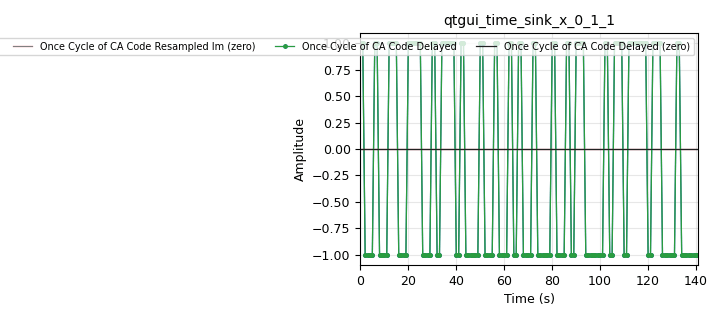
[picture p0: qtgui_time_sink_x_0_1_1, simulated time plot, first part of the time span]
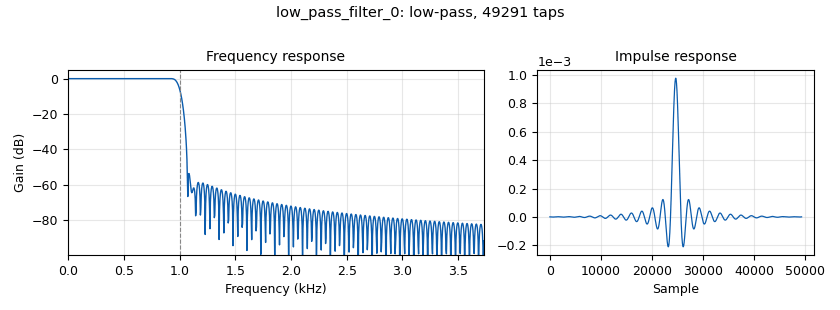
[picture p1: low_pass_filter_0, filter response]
options:
  parameters:
    author: jason
    generate_options: qt_gui
    generator_class_name: PythonQtGuiGenerator
    generator_module: gnuradio.grc.workflows.python_qt_gui
    id: lesson23_GPS_RTL_SDR_calculateCA_shift
    output_language: python
    title: GPS_RTL_SDR
  states: {}

blocks:
- name: Ncycles
  id: variable
  parameters:
    value: '4'
  states: {}
- name: bb_gain
  id: variable_qtgui_range
  parameters:
    start: '0'
    step: '1'
    stop: '80'
    value: '20'
  states: {}
- name: chip_rate
  id: variable
  parameters:
    comment: 'GPS C/A code: 1023 chips per millisecond'
    value: 1.023e6
  states: {}
- name: delay
  id: variable_qtgui_range
  parameters:
    start: '-int(samp_rate/1000)'
    step: '1'
    stop: int(samp_rate/1000)
    value: '0'
  states: {}
- name: doppler_shift
  id: variable_qtgui_range
  parameters:
    comment: |-
      Satellite Doppler at L1 is up to about +/-5 kHz for a receiver on the ground,
      and the RTL-SDR clock adds 1.575 kHz per ppm of error (set Frequency Correction
      if you know your dongle's ppm). With Ncycles ms of coherent integration the
      correlation peak is only 1/Ncycles kHz wide, so step through this slowly.
    start: '-10e3'
    step: '50'
    stop: 10e3
    value: '0'
  states: {}
- name: if_gain
  id: variable_qtgui_range
  parameters:
    start: '0'
    step: '1'
    stop: '80'
    value: '20'
  states: {}
- name: rf_gain
  id: variable_qtgui_range
  parameters:
    start: '0'
    step: '1'
    stop: '80'
    value: '50'
  states: {}
- name: samp_rate
  id: variable
  parameters:
    value: 2.048e6
  states: {state: disabled}
- name: samp_rate
  id: variable
  parameters:
    value: 2.4e6
  states: {state: disabled}
- name: samp_rate
  id: variable
  parameters:
    comment: two samples per chip
    value: 2*chip_rate
  states: {}
- name: vector_size
  id: variable
  parameters:
    value: int(Ncycles*samp_rate/1000)
  states: {}
- name: analog_const_source_x_0
  id: analog_const_source_x
  parameters:
    const: '0'
    type: byte
  states: {}
- name: analog_const_source_x_1
  id: analog_const_source_x
  parameters:
    const: '0'
    type: float
  states: {}
- name: analog_const_source_x_2
  id: analog_const_source_x
  parameters:
    const: '0'
    type: float
  states: {}
- name: analog_sig_source_x_0
  id: analog_sig_source_x
  parameters:
    amp: '1'
    comment: |-
      complex exponential
      used to un-doppler shift
    freq: doppler_shift
    offset: '0'
    phase: '0'
    samp_rate: samp_rate
    type: complex
    waveform: analog.GR_COS_WAVE
  states: {}
- name: analog_sig_source_x_1
  id: analog_sig_source_x
  parameters:
    amp: delay*3.141592653589793*2/Ncycles
    comment: |-
      Originally I had delay*3.141592653589793*2,
      but delay*3.141592653589793/2 
      actually matches the correlation peak with Ncycles=4
    freq: '1000'
    offset: '0'
    phase: '3.141592653589793'
    samp_rate: samp_rate
    type: float
    waveform: analog.GR_SAW_WAVE
  states: {}
- name: blocks_char_to_float_0
  id: blocks_char_to_float
  parameters:
    scale: '1'
  states: {}
- name: blocks_complex_to_mag_0
  id: blocks_complex_to_mag
  parameters: {}
  states: {}
- name: blocks_delay_0
  id: blocks_delay
  parameters:
    comment: '1'
    delay: '1'
    type: byte
  states: {}
- name: blocks_delay_0_0
  id: blocks_delay
  parameters:
    comment: '2'
    delay: '1'
    type: byte
  states: {}
- name: blocks_delay_0_0_0
  id: blocks_delay
  parameters:
    comment: '3'
    delay: '1'
    type: byte
  states: {}
- name: blocks_delay_0_0_0_0
  id: blocks_delay
  parameters:
    comment: '4'
    delay: '1'
    type: byte
  states: {}
- name: blocks_delay_0_0_0_0_0
  id: blocks_delay
  parameters:
    comment: '5'
    delay: '1'
    type: byte
  states: {}
- name: blocks_delay_0_0_0_0_0_0
  id: blocks_delay
  parameters:
    comment: '6'
    delay: '1'
    type: byte
  states: {}
- name: blocks_delay_0_0_0_0_0_0_0
  id: blocks_delay
  parameters:
    comment: '7'
    delay: '1'
    type: byte
  states: {}
- name: blocks_delay_0_0_0_0_0_0_0_0
  id: blocks_delay
  parameters:
    comment: '10'
    delay: '1'
    type: byte
  states: {}
- name: blocks_delay_0_0_0_0_0_0_0_0_0
  id: blocks_delay
  parameters:
    comment: '10'
    delay: '1'
    type: byte
  states: {}
- name: blocks_delay_0_0_0_0_0_0_0_1
  id: blocks_delay
  parameters:
    comment: '7'
    delay: '1'
    type: byte
  states: {}
- name: blocks_delay_0_0_0_0_0_0_1
  id: blocks_delay
  parameters:
    comment: '9'
    delay: '1'
    type: byte
  states: {}
- name: blocks_delay_0_0_0_0_0_0_1_0
  id: blocks_delay
  parameters:
    comment: '9'
    delay: '1'
    type: byte
  states: {}
- name: blocks_delay_0_0_0_0_0_0_2
  id: blocks_delay
  parameters:
    comment: '6'
    delay: '1'
    type: byte
  states: {}
- name: blocks_delay_0_0_0_0_0_1
  id: blocks_delay
  parameters:
    comment: '8'
    delay: '1'
    type: byte
  states: {}
- name: blocks_delay_0_0_0_0_0_1_0
  id: blocks_delay
  parameters:
    comment: '8'
    delay: '1'
    type: byte
  states: {}
- name: blocks_delay_0_0_0_0_0_2
  id: blocks_delay
  parameters:
    comment: '5'
    delay: '1'
    type: byte
  states: {}
- name: blocks_delay_0_0_0_0_1
  id: blocks_delay
  parameters:
    comment: '4'
    delay: '1'
    type: byte
  states: {}
- name: blocks_delay_0_0_0_1
  id: blocks_delay
  parameters:
    comment: '3'
    delay: '1'
    type: byte
  states: {}
- name: blocks_delay_0_0_1
  id: blocks_delay
  parameters:
    comment: '2'
    delay: '1'
    type: byte
  states: {}
- name: blocks_delay_0_1
  id: blocks_delay
  parameters:
    comment: '1'
    delay: '1'
    type: byte
  states: {}
- name: blocks_float_to_complex_0
  id: blocks_float_to_complex
  parameters: {}
  states: {}
- name: blocks_float_to_complex_1
  id: blocks_float_to_complex
  parameters: {}
  states: {}
- name: blocks_multiply_conjugate_cc_0
  id: blocks_multiply_conjugate_cc
  parameters:
    vlen: vector_size
  states: {}
- name: blocks_multiply_const_vxx_0
  id: blocks_multiply_const_vxx
  parameters:
    const: '[1/vector_size]*vector_size'
    type: complex
    vlen: vector_size
  states: {}
- name: blocks_multiply_const_vxx_0_0
  id: blocks_multiply_const_vxx
  parameters:
    const: '[1/vector_size]*vector_size'
    type: complex
    vlen: vector_size
  states: {}
- name: blocks_multiply_xx_0
  id: blocks_multiply_xx
  parameters:
    comment: |-
      out is a doppler-shifted
      RTL-SDR signal
    type: complex
  states: {}
- name: blocks_multiply_xx_0_0
  id: blocks_multiply_xx
  parameters:
    comment: |-
      multiply doppler-shifted input
      by time-shifted resampled CA code
    type: complex
  states: {}
- name: blocks_multiply_xx_1
  id: blocks_multiply_xx
  parameters:
    type: complex
  states: {}
- name: blocks_null_sink_0
  id: blocks_null_sink
  parameters:
    type: byte
  states: {}
- name: blocks_repeat_0
  id: blocks_repeat
  parameters:
    comment: samples per chip
    interp: int(samp_rate/chip_rate)
    type: complex
  states: {}
- name: blocks_stream_to_vector_0_0
  id: blocks_stream_to_vector
  parameters:
    comment: |-
      start FFT circular correlation
      by turning doppler-shifted RTL-SDR into stream
    num_items: vector_size
    type: complex
  states: {}
- name: blocks_stream_to_vector_0_0_0
  id: blocks_stream_to_vector
  parameters:
    comment: |-
      start FFT circular correlation
      by turning re-sampled code into stream
    num_items: vector_size
    type: complex
  states: {}
- name: blocks_stream_to_vector_0_0_0_0
  id: blocks_stream_to_vector
  parameters:
    num_items: vector_size
    type: complex
  states: {}
- name: blocks_transcendental_0
  id: blocks_transcendental
  parameters:
    name: exp
    type: complex_float
  states: {}
- name: blocks_vector_to_stream_0
  id: blocks_vector_to_stream
  parameters:
    num_items: vector_size
    type: complex
  states: {}
- name: blocks_vector_to_stream_1
  id: blocks_vector_to_stream
  parameters:
    num_items: vector_size
    type: complex
  states: {}
- name: blocks_vector_to_stream_1_0
  id: blocks_vector_to_stream
  parameters:
    comment: |-
      out is a delayed
      version of resampled CA code
    num_items: vector_size
    type: complex
  states: {}
- name: blocks_xor_xx_0
  id: blocks_xor_xx
  parameters:
    comment: |-
      Find SV CA code taps on p23 of
      http://www.naic.edu/~phil/rfi/gps/AFD-070803-059-1.pdf
    type: byte
  states: {}
- name: blocks_xor_xx_1
  id: blocks_xor_xx
  parameters:
    comment: SV cacode
    type: byte
  states: {}
- name: digital_map_bb_0
  id: digital_map_bb
  parameters:
    map: '[-1,1]'
  states: {}
- name: digital_scrambler_bb_1_0
  id: digital_scrambler_bb
  parameters:
    comment: |-
      G1 LFSR:
      x^10+x^3+1
      For the scrambler,
      length really means length-1
      GPS documentation's definition 
      of the bits is the opposite order
    len: 10-1
    mask: 2**(10-10) + 2**(10-3)
    seed: 2**10-1
  states: {}
- name: digital_scrambler_bb_1_0_0
  id: digital_scrambler_bb
  parameters:
    comment: |-
      G2 LFSR: 
      x^10+x^9+x^8+x^6+x^3+x^2+1
    len: 10-1
    mask: 2**(10-10) + 2**(10-9) + 2**(10-8) + 2**(10-6) + 2**(10-3) + 2**(10-2)
    seed: 2**10-1
  states: {}
- name: fft_vxx_0
  id: fft_vxx
  parameters:
    comment: |-
      In a real system, this one can be 
      pre-computed for each satellite
    fft_size: vector_size
    forward: 'True'
    shift: 'False'
    type: complex
    window: window.rectangular(vector_size)
  states: {}
- name: fft_vxx_0_0
  id: fft_vxx
  parameters:
    fft_size: vector_size
    forward: 'True'
    shift: 'False'
    type: complex
    window: window.rectangular(vector_size)
  states: {}
- name: fft_vxx_1
  id: fft_vxx
  parameters:
    fft_size: vector_size
    forward: 'False'
    shift: 'False'
    type: complex
    window: window.rectangular(vector_size)
  states: {}
- name: fft_vxx_1_0
  id: fft_vxx
  parameters:
    fft_size: vector_size
    forward: 'False'
    shift: 'False'
    type: complex
    window: window.rectangular(vector_size)
  states: {}
- name: gps_taps_note
  id: note
  parameters:
    comment: |-
      GPS C/A code: G2 taps for each satellite (IS-GPS-200, Table 3-Ia)
      C/A = G1[10] xor G2[t1] xor G2[t2]   (delay n = tap n)
      PRN 1: 2,6    PRN 2: 3,7    PRN 3: 4,8    PRN 4: 5,9
      PRN 5: 1,9    PRN 6: 2,10   PRN 7: 1,8    PRN 8: 2,9
      PRN 9: 3,10   PRN 10: 2,3   PRN 11: 3,4   PRN 12: 5,6
      PRN 13: 6,7   PRN 14: 7,8   PRN 15: 8,9   PRN 16: 9,10
      PRN 17: 1,4   PRN 18: 2,5   PRN 19: 3,6   PRN 20: 4,7
      PRN 21: 5,8   PRN 22: 6,9   PRN 23: 1,3   PRN 24: 4,6
      PRN 25: 5,7   PRN 26: 6,8   PRN 27: 7,9   PRN 28: 8,10
      PRN 29: 1,6   PRN 30: 2,7   PRN 31: 3,8   PRN 32: 4,9
      (All 32 verified against the IS-GPS-200 first-10-chip table, Oct 2026.)
    note: G2 taps for every GPS satellite
  states: {}
- name: low_pass_filter_0
  id: low_pass_filter
  parameters:
    cutoff_freq: '1000'
    decim: int(samp_rate/1000)
    gain: '1'
    samp_rate: samp_rate
    type: fir_filter_ccf
    width: '100'
    win: window.WIN_HAMMING
  states: {}
- name: qtgui_freq_sink_x_0
  id: qtgui_freq_sink_x
  parameters:
    bw: samp_rate
    fc: '0'
    fftsize: '2048'
    label1: Once Cycle of CA Code Resampled
    label2: RTL-SDR raw
    nconnections: '2'
    type: complex
  states: {}
- name: qtgui_time_sink_x_0
  id: qtgui_time_sink_x
  parameters:
    autoscale: 'True'
    comment: |-
      CA code as a 
      sequence of 1023 of 0s and 1s
    label1: One Cycle of CA Code (1023 chips)
    label2: One Cycle of CA Code Im (zero)
    marker1: '0'
    size: '1023'
    srate: '1'
    type: complex
  states: {}
- name: qtgui_time_sink_x_0_1
  id: qtgui_time_sink_x
  parameters:
    autoscale: 'True'
    label1: Once Cycle of CA Code Resampled
    label2: Once Cycle of CA Code Resampled Im (zero)
    size: int(samp_rate/1000)
    srate: '1'
    type: complex
  states: {}
- name: qtgui_time_sink_x_0_1_0
  id: qtgui_time_sink_x
  parameters:
    label1: RTL-SDR raw Re
    label2: RTL-SDR raw Im
    size: int(samp_rate/1000)
    srate: samp_rate
    type: complex
  states: {state: disabled}
- name: qtgui_time_sink_x_0_1_1
  id: qtgui_time_sink_x
  parameters:
    autoscale: 'True'
    label1: Once Cycle of CA Code Resampled
    label2: Once Cycle of CA Code Resampled Im (zero)
    label3: Once Cycle of CA Code Delayed
    label4: Once Cycle of CA Code Delayed (zero)
    marker1: '0'
    marker3: '0'
    nconnections: '2'
    size: int(samp_rate/1000)
    srate: '1'
    type: complex
  states: {}
- name: qtgui_time_sink_x_0_2
  id: qtgui_time_sink_x
  parameters:
    autoscale: 'True'
    label1: Correlation Re
    label2: Correlation Im
    size: vector_size
    srate: samp_rate
    type: complex
    ymax: vector_size*1.2
    ymin: '-vector_size*0.2'
  states: {state: disabled}
- name: qtgui_time_sink_x_0_2_0
  id: qtgui_time_sink_x
  parameters:
    label1: Correlation Mag
    size: vector_size
    srate: '1'
    type: float
    ymax: 40*Ncycles
    ymin: '0'
  states: {}
- name: qtgui_time_sink_x_1
  id: qtgui_time_sink_x
  parameters:
    label1: Correlate Against Each Cycle Re
    label2: Correlate Against Each Cycle Im
    marker1: '0'
    marker2: '0'
    size: '1000'
    srate: 1e3
    type: complex
    ymax: '0.02'
    ymin: '-0.02'
  states: {}
- name: rational_resampler_xxx_0
  id: rational_resampler_xxx
  parameters:
    comment: CA code resampled at 2.048 MHz
    decim: int(chip_rate)
    interp: int(samp_rate)
    type: ccc
  states: {state: disabled}
- name: rtlsdr_source_0
  id: rtlsdr_source
  parameters:
    args: '"rtl,bias=1"'
    bb_gain0: bb_gain
    comment: |-
      Add "rtl,bias=1" to 
      Device Arguments arguments 
      to turn on the bias T
      Tune to 1575.42 MHz for GPS L1
    freq0: 1575.42e6
    gain0: rf_gain
    gain_mode0: 'False'
    if_gain0: if_gain
    sample_rate: samp_rate
    sync: sync
    type: fc32
  states: {}
- name: virtual_sink_0_0_0
  id: virtual_sink
  parameters:
    stream_id: G2
  states: {}
- name: virtual_sink_0_0_0_0
  id: virtual_sink
  parameters:
    stream_id: G1
  states: {}
- name: virtual_sink_0_0_0_1
  id: virtual_sink
  parameters:
    stream_id: CA
  states: {}
- name: virtual_source_0
  id: virtual_source
  parameters:
    stream_id: CA
  states: {}

connections:
- [analog_const_source_x_0, '0', digital_scrambler_bb_1_0, '0']
- [analog_const_source_x_0, '0', digital_scrambler_bb_1_0_0, '0']
- [analog_const_source_x_1, '0', blocks_float_to_complex_0, '1']
- [analog_const_source_x_2, '0', blocks_float_to_complex_1, '0']
- [analog_sig_source_x_0, '0', blocks_multiply_xx_0, '1']
- [analog_sig_source_x_1, '0', blocks_float_to_complex_1, '1']
- [blocks_char_to_float_0, '0', blocks_float_to_complex_0, '0']
- [blocks_complex_to_mag_0, '0', qtgui_time_sink_x_0_2_0, '0']
- [blocks_delay_0, '0', blocks_delay_0_0, '0']
- [blocks_delay_0_0, '0', blocks_delay_0_0_0, '0']
- [blocks_delay_0_0_0, '0', blocks_delay_0_0_0_0, '0']
- [blocks_delay_0_0_0, '0', blocks_xor_xx_0, '1']
- [blocks_delay_0_0_0_0, '0', blocks_delay_0_0_0_0_0, '0']
- [blocks_delay_0_0_0_0, '0', blocks_xor_xx_0, '0']
- [blocks_delay_0_0_0_0_0, '0', blocks_delay_0_0_0_0_0_0, '0']
- [blocks_delay_0_0_0_0_0_0, '0', blocks_delay_0_0_0_0_0_0_0, '0']
- [blocks_delay_0_0_0_0_0_0_0, '0', blocks_delay_0_0_0_0_0_1, '0']
- [blocks_delay_0_0_0_0_0_0_0_0, '0', blocks_null_sink_0, '0']
- [blocks_delay_0_0_0_0_0_0_0_0, '0', virtual_sink_0_0_0, '0']
- [blocks_delay_0_0_0_0_0_0_0_0_0, '0', blocks_xor_xx_1, '0']
- [blocks_delay_0_0_0_0_0_0_0_0_0, '0', virtual_sink_0_0_0_0, '0']
- [blocks_delay_0_0_0_0_0_0_0_1, '0', blocks_delay_0_0_0_0_0_1_0, '0']
- [blocks_delay_0_0_0_0_0_0_1, '0', blocks_delay_0_0_0_0_0_0_0_0, '0']
- [blocks_delay_0_0_0_0_0_0_1_0, '0', blocks_delay_0_0_0_0_0_0_0_0_0, '0']
- [blocks_delay_0_0_0_0_0_0_2, '0', blocks_delay_0_0_0_0_0_0_0_1, '0']
- [blocks_delay_0_0_0_0_0_1, '0', blocks_delay_0_0_0_0_0_0_1, '0']
- [blocks_delay_0_0_0_0_0_1_0, '0', blocks_delay_0_0_0_0_0_0_1_0, '0']
- [blocks_delay_0_0_0_0_0_2, '0', blocks_delay_0_0_0_0_0_0_2, '0']
- [blocks_delay_0_0_0_0_1, '0', blocks_delay_0_0_0_0_0_2, '0']
- [blocks_delay_0_0_0_1, '0', blocks_delay_0_0_0_0_1, '0']
- [blocks_delay_0_0_1, '0', blocks_delay_0_0_0_1, '0']
- [blocks_delay_0_1, '0', blocks_delay_0_0_1, '0']
- [blocks_float_to_complex_0, '0', blocks_repeat_0, '0']
- [blocks_float_to_complex_0, '0', qtgui_time_sink_x_0, '0']
- [blocks_float_to_complex_0, '0', rational_resampler_xxx_0, '0']
- [blocks_float_to_complex_1, '0', blocks_transcendental_0, '0']
- [blocks_multiply_conjugate_cc_0, '0', fft_vxx_1, '0']
- [blocks_multiply_const_vxx_0, '0', blocks_vector_to_stream_0, '0']
- [blocks_multiply_const_vxx_0_0, '0', blocks_vector_to_stream_1_0, '0']
- [blocks_multiply_xx_0, '0', blocks_multiply_xx_0_0, '0']
- [blocks_multiply_xx_0, '0', blocks_stream_to_vector_0_0, '0']
- [blocks_multiply_xx_0_0, '0', low_pass_filter_0, '0']
- [blocks_multiply_xx_1, '0', blocks_stream_to_vector_0_0_0_0, '0']
- [blocks_repeat_0, '0', blocks_stream_to_vector_0_0_0, '0']
- [blocks_repeat_0, '0', qtgui_freq_sink_x_0, '0']
- [blocks_repeat_0, '0', qtgui_time_sink_x_0_1, '0']
- [blocks_repeat_0, '0', qtgui_time_sink_x_0_1_1, '0']
- [blocks_stream_to_vector_0_0, '0', fft_vxx_0_0, '0']
- [blocks_stream_to_vector_0_0_0, '0', fft_vxx_0, '0']
- [blocks_stream_to_vector_0_0_0_0, '0', fft_vxx_1_0, '0']
- [blocks_transcendental_0, '0', blocks_multiply_xx_1, '1']
- [blocks_vector_to_stream_0, '0', blocks_complex_to_mag_0, '0']
- [blocks_vector_to_stream_0, '0', qtgui_time_sink_x_0_2, '0']
- [blocks_vector_to_stream_1, '0', blocks_multiply_xx_1, '0']
- [blocks_vector_to_stream_1_0, '0', blocks_multiply_xx_0_0, '1']
- [blocks_vector_to_stream_1_0, '0', qtgui_time_sink_x_0_1_1, '1']
- [blocks_xor_xx_0, '0', blocks_xor_xx_1, '1']
- [blocks_xor_xx_1, '0', virtual_sink_0_0_0_1, '0']
- [digital_map_bb_0, '0', blocks_char_to_float_0, '0']
- [digital_scrambler_bb_1_0, '0', blocks_delay_0_1, '0']
- [digital_scrambler_bb_1_0_0, '0', blocks_delay_0, '0']
- [fft_vxx_0, '0', blocks_multiply_conjugate_cc_0, '0']
- [fft_vxx_0, '0', blocks_vector_to_stream_1, '0']
- [fft_vxx_0_0, '0', blocks_multiply_conjugate_cc_0, '1']
- [fft_vxx_1, '0', blocks_multiply_const_vxx_0, '0']
- [fft_vxx_1_0, '0', blocks_multiply_const_vxx_0_0, '0']
- [low_pass_filter_0, '0', qtgui_time_sink_x_1, '0']
- [rational_resampler_xxx_0, '0', blocks_stream_to_vector_0_0_0, '0']
- [rational_resampler_xxx_0, '0', qtgui_freq_sink_x_0, '0']
- [rational_resampler_xxx_0, '0', qtgui_time_sink_x_0_1, '0']
- [rational_resampler_xxx_0, '0', qtgui_time_sink_x_0_1_1, '0']
- [rtlsdr_source_0, '0', blocks_multiply_xx_0, '0']
- [rtlsdr_source_0, '0', qtgui_freq_sink_x_0, '1']
- [rtlsdr_source_0, '0', qtgui_time_sink_x_0_1_0, '0']
- [virtual_source_0, '0', digital_map_bb_0, '0']

metadata:
  file_format: 1
  grc_version: 3.10.12.0
